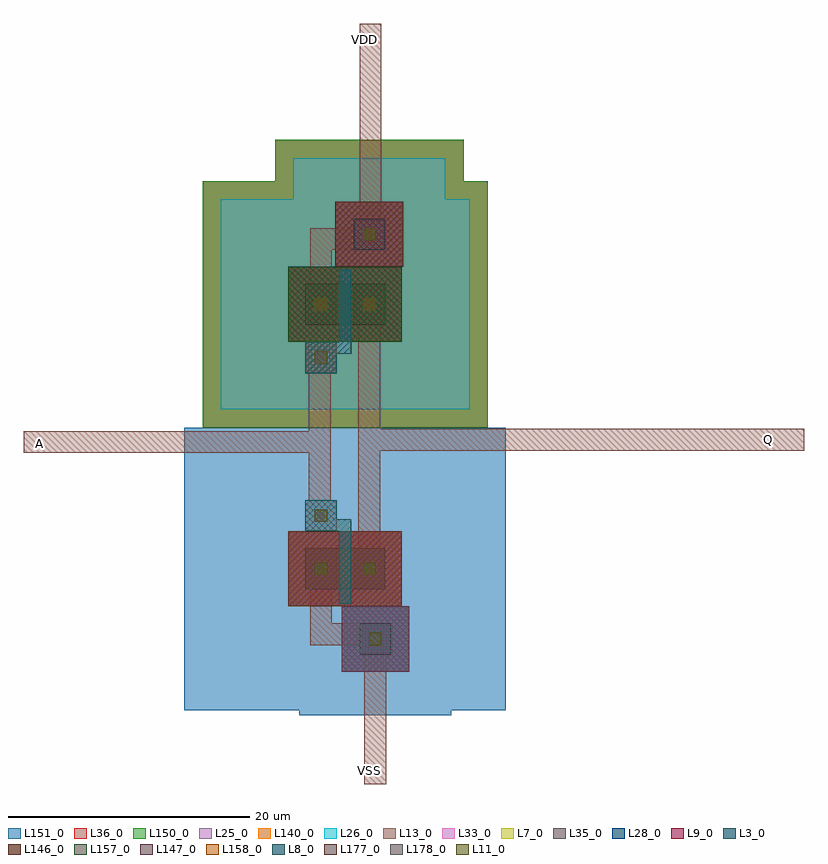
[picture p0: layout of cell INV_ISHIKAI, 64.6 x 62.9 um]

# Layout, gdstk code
import gdstk
lib = gdstk.Library(unit=1e-6, precision=1e-07)
def R(c, l, rs):  # rectangles x0, y0, x1, y1
    for r in rs: c.add(gdstk.rectangle(r[:2], r[2:], *l))
L3_0 = (3, 0)
L7_0 = (7, 0)
L8_0 = (8, 0)
L9_0 = (9, 0)
L11_0 = (11, 0)
L13_0 = (13, 0)
L25_0 = (25, 0)
L26_0 = (26, 0)
L28_0 = (28, 0)
L33_0 = (33, 0)
L35_0 = (35, 0)
L36_0 = (36, 0)
L140_0 = (140, 0)
L146_0 = (146, 0)
L147_0 = (147, 0)
L150_0 = (150, 0)
L151_0 = (151, 0)
L157_0 = (157, 0)
L158_0 = (158, 0)
L177_0 = (177, 0)
L178_0 = (178, 0)

dcont = lib.new_cell('dcont')
R(dcont, L3_0, [(-1.3,-1.3,1.3,1.3)])
R(dcont, L11_0, [(-0.5,-0.5,0.5,0.5)])
R(dcont, L13_0, [(-1.3,-1.3,1.3,1.3), (-0.5,-0.5,0.5,0.5)])

pcont = lib.new_cell('pcont')
R(pcont, L8_0, [(-1.3,-1.3,1.3,1.3)])
R(pcont, L11_0, [(-0.5,-0.5,0.5,0.5)])
R(pcont, L13_0, [(-1.3,-1.3,1.3,1.3), (-0.5,-0.5,0.5,0.5)])

c_dcont = lib.new_cell('DCONT')
R(c_dcont, L3_0, [(-1.3,-1.3,1.3,1.3)])
R(c_dcont, L11_0, [(-0.5,-0.5,0.5,0.5)])
R(c_dcont, L13_0, [(-1.3,-1.3,1.3,1.3), (-0.5,-0.5,0.5,0.5)])

nsubcont = lib.new_cell('nsubcont')
R(nsubcont, L7_0, [(-2.8,-2.7,2.8,2.7)])
R(nsubcont, L9_0, [(-2.8,-2.7,2.8,2.7)])
R(nsubcont, L25_0, [(-6.3,-6.3,6.3,6.3)])
R(nsubcont, L26_0, [(-6.3,-6.3,6.3,6.3)])
R(nsubcont, L33_0, [(-2.8,-2.7,2.8,2.7)])
R(nsubcont, L35_0, [(-2.8,-2.7,2.8,2.7)])
R(nsubcont, L36_0, [(-7.8,-7.8,7.8,7.8)])
R(nsubcont, L140_0, [(-6.3,-6.3,6.3,6.3)])
R(nsubcont, L150_0, [(-7.8,-7.8,7.8,7.8)])
R(nsubcont, L177_0, [(-2.8,-2.7,2.8,2.7)])
nsubcont.add(gdstk.Reference(c_dcont, (0,0)))

mp_1 = lib.new_cell('MP$1')
R(mp_1, L3_0, [(0,3.6,6.6,7)])
R(mp_1, L7_0, [(-1.4,2.2,8,8.4)])
R(mp_1, L25_0, [(-7,-3.4,13.6,14)])
R(mp_1, L26_0, [(-7,-3.4,13.6,14)])
R(mp_1, L28_0, [(-1.4,2.2,8,8.4)])
R(mp_1, L33_0, [(-1.4,2.2,8,8.4)])
R(mp_1, L36_0, [(-8.5,-4.9,15.1,15.5)])
R(mp_1, L140_0, [(-7,-3.4,13.6,14)])
R(mp_1, L146_0, [(-1.4,2.2,8,8.4)])
R(mp_1, L150_0, [(-8.5,-4.9,15.1,15.5)])
R(mp_1, L157_0, [(-1.4,2.2,8,8.4)])
mp_1.add(gdstk.FlexPath([(1.3,3.6),(1.3,7)], 2.6, ends="flush", simple_path=True, layer=13, datatype=0))  # L13_0
mp_1.add(gdstk.FlexPath([(5.3,3.6),(5.3,7)], 2.6, ends="flush", simple_path=True, layer=13, datatype=0))  # L13_0
mp_1.add(gdstk.FlexPath([(1.3,6),(1.3,9.3)], 1.8, ends="flush", simple_path=True, layer=13, datatype=0))  # L13_0
mp_1.add(gdstk.FlexPath([(5.3,1.3),(5.3,4.6)], 1.8, ends="flush", simple_path=True, layer=13, datatype=0))  # L13_0
mp_1.add(gdstk.FlexPath([(3.3,3.6),(3.3,7)], 1, ends=(1.2, 1.2), simple_path=True, layer=8, datatype=0))  # L8_0
mp_1.add(gdstk.FlexPath([(1.3,1.7),(3.3,1.7),(3.3,2.4)], 1, ends="flush", simple_path=True, layer=8, datatype=0))  # L8_0
mp_1.add(gdstk.Reference(dcont, (1.3,5.3)))
mp_1.add(gdstk.Reference(dcont, (5.3,5.3)))
mp_1.add(gdstk.Reference(pcont, (1.3,0.9)))
mp_1.add(gdstk.Reference(nsubcont, (5.3,11.1)))

psubcont = lib.new_cell('psubcont')
R(psubcont, L7_0, [(-2.8,-2.7,2.8,2.7)])
R(psubcont, L28_0, [(-2.8,-2.7,2.8,2.7)])
R(psubcont, L33_0, [(-2.8,-2.7,2.8,2.7)])
R(psubcont, L35_0, [(-2.8,-2.7,2.8,2.7)])
R(psubcont, L151_0, [(-6.3,-6.3,6.3,6.3)])
R(psubcont, L178_0, [(-2.8,-2.7,2.8,2.7)])
psubcont.add(gdstk.Reference(c_dcont, (0,0)))

mn_1 = lib.new_cell('MN$1')
R(mn_1, L3_0, [(0,3.6,6.6,7)])
R(mn_1, L9_0, [(-1.4,2.2,8,8.4)])
R(mn_1, L33_0, [(-1.4,2.2,8,8.4)])
R(mn_1, L35_0, [(-1.4,2.2,8,8.4)])
R(mn_1, L147_0, [(-1.4,2.2,8,8.4)])
R(mn_1, L151_0, [(-10,-6.4,16.6,17)])
R(mn_1, L158_0, [(-1.4,2.2,8,8.4)])
mn_1.add(gdstk.FlexPath([(1.3,3.6),(1.3,7)], 2.6, ends="flush", simple_path=True, layer=13, datatype=0))  # L13_0
mn_1.add(gdstk.FlexPath([(5.3,3.6),(5.3,7)], 2.6, ends="flush", simple_path=True, layer=13, datatype=0))  # L13_0
mn_1.add(gdstk.FlexPath([(1.3,1.3),(1.3,4.6)], 1.8, ends="flush", simple_path=True, layer=13, datatype=0))  # L13_0
mn_1.add(gdstk.FlexPath([(5.3,6),(5.3,9.3)], 1.8, ends="flush", simple_path=True, layer=13, datatype=0))  # L13_0
mn_1.add(gdstk.FlexPath([(3.3,3.6),(3.3,7)], 1, ends=(1.2, 1.2), simple_path=True, layer=8, datatype=0))  # L8_0
mn_1.add(gdstk.FlexPath([(1.3,8.9),(3.3,8.9),(3.3,8.2)], 1, ends="flush", simple_path=True, layer=8, datatype=0))  # L8_0
mn_1.add(gdstk.Reference(dcont, (1.3,5.3)))
mn_1.add(gdstk.Reference(dcont, (5.3,5.3)))
mn_1.add(gdstk.Reference(pcont, (1.3,9.7)))
mn_1.add(gdstk.Reference(psubcont, (5.8,-0.5)))

inv_ishikai = lib.new_cell('INV_ISHIKAI')
inv_ishikai.add(gdstk.FlexPath([(1.2,1.3),(1.2,-12.2)], 1.8, ends="flush", simple_path=True, layer=13, datatype=0))  # L13_0
inv_ishikai.add(gdstk.FlexPath([(5.3,2.1),(5.3,-12.8)], 1.8, ends="flush", simple_path=True, layer=13, datatype=0))  # L13_0
inv_ishikai.add(gdstk.FlexPath([(1.3,9.4),(1.3,11.1),(6.2,11.1)], 1.8, ends="flush", simple_path=True, layer=13, datatype=0))  # L13_0
inv_ishikai.add(gdstk.FlexPath([(5.4,11.1),(5.4,28.9)], 1.8, ends="flush", simple_path=True, layer=13, datatype=0))  # L13_0
inv_ishikai.add(gdstk.FlexPath([(5.3,-5.5),(41.3,-5.5)], 1.8, ends="flush", simple_path=True, layer=13, datatype=0))  # L13_0
inv_ishikai.add(gdstk.FlexPath([(1.2,-5.7),(-23.3,-5.7)], 1.8, ends="flush", simple_path=True, layer=13, datatype=0))  # L13_0
inv_ishikai.add(gdstk.FlexPath([(1.3,-19.9),(1.3,-21.6),(5.8,-21.6)], 1.8, ends="flush", simple_path=True, layer=13, datatype=0))  # L13_0
inv_ishikai.add(gdstk.FlexPath([(5.8,-21.7),(5.8,-34)], 1.8, ends="flush", simple_path=True, layer=13, datatype=0))  # L13_0
inv_ishikai.add(gdstk.Reference(mp_1, (0,0.4)))
inv_ishikai.add(gdstk.Reference(mn_1, (0,-21.5)))
inv_ishikai.add(gdstk.Label('Q', (38.3,-5.5), layer=13, texttype=0))
inv_ishikai.add(gdstk.Label('A', (-22,-5.8), layer=13, texttype=0))
inv_ishikai.add(gdstk.Label('VDD', (4.9,27.6), layer=13, texttype=0))
inv_ishikai.add(gdstk.Label('VSS', (5.3,-32.9), layer=13, texttype=0))

lib.write_gds('INV_ISHIKAI.gds')
